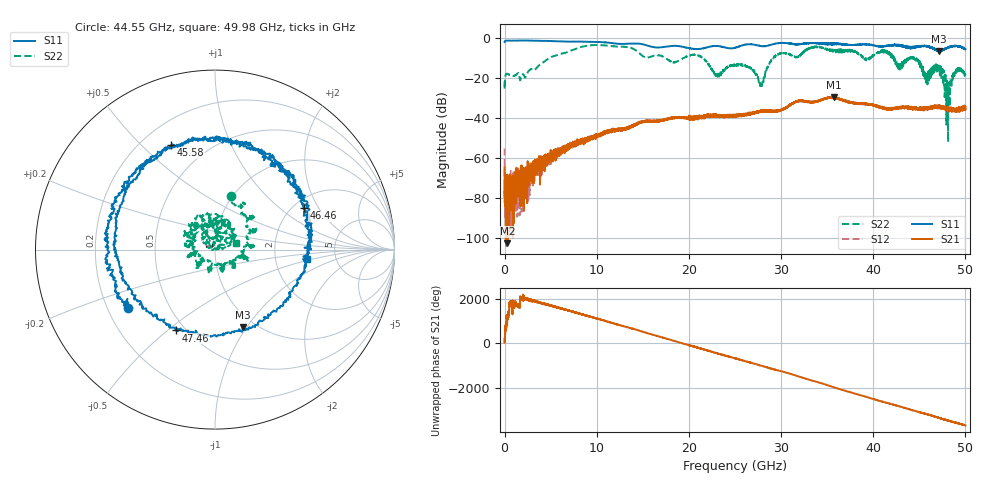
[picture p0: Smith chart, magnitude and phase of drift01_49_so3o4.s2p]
!Created with skrf (http://scikit-rf.org).
# Hz S RI R 50.0
!freq ReS11 ImS11 ReS21 ImS21 ReS12 ImS12 ReS22 ImS22
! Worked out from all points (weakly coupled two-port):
!   10001 points, 300 kHz to 50 GHz, reference 50 ohm
!   highest |S21| = -29.66 dB at 35.74 GHz (marker M1); lowest = -102.6 dB at 310.3 MHz (marker M2)
!   lowest |S11| = -6.8 dB at 47.15 GHz (marker M3), VSWR 2.69, Z = 43.9 - j47.9 ohm
!   |S11| at or under -10 dB: nowhere
!   |S22| runs from -52.0 to -3.6 dB; largest |S21 - S12| = 0.0035
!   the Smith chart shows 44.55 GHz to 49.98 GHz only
!   S11 on the Smith chart (normalised r, x): 44.55 GHz: 0.29, -0.28; 45.58 GHz: 0.32, +0.61; 46.46 GHz: 2.28, +1.49; 47.46 GHz: 0.45, -0.54; 49.98 GHz: 3.05, -0.42
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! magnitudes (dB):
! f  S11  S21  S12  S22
! 300 kHz  -2.1  -64.5  -55.2  -21.8
! 310.3 MHz  -1.4  -102.6  -79.5  -18.0
! 8.335 GHz  -2.0  -51.4  -51.4  -4.6
! 16.67 GHz  -4.9  -41.7  -41.6  -8.7
! 20.96 GHz  -5.6  -39.7  -39.9  -8.8
! 23.07 GHz  -4.1  -39.1  -38.6  -18.4
! 25 GHz  -5.0  -39.4  -38.8  -13.8
! 27.83 GHz  -4.1  -36.4  -36.6  -22.4
! 29.48 GHz  -2.9  -36.8  -36.9  -8.8
! 33.34 GHz  -2.6  -32.1  -32.1  -4.7
! 35.74 GHz  -2.8  -29.7  -29.9  -6.5
! 41.67 GHz  -3.9  -35.5  -35.6  -7.6
! 42.82 GHz  -3.8  -34.8  -35.1  -13.2
! 44.55 GHz  -4.7  -35.6  -35.3  -10.1
! 45.58 GHz  -4.0  -35.7  -35.7  -20.5
! 46.46 GHz  -5.3  -34.9  -34.5  -15.0
! 47.15 GHz  -6.8  -34.7  -34.1  -14.0
! 47.46 GHz  -6.0  -34.8  -34.4  -17.0
! 48.13 GHz  -4.9  -35.3  -35.2  -36.2
! 48.96 GHz  -4.2  -35.4  -35.8  -17.7
! 49.98 GHz  -5.8  -34.1  -34.3  -18.4
! 50 GHz  -5.7  -35.8  -35.6  -18.9
